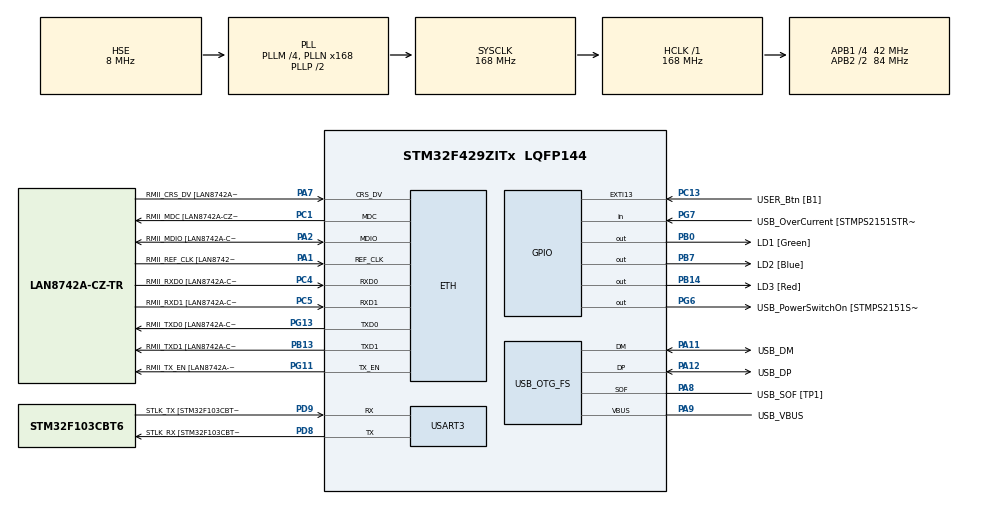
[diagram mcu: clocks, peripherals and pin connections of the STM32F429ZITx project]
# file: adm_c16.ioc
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ETH.MediaInterface=HAL_ETH_RMII_MODE
ETH.PHY_Name=LAN8742A_PHY_ADDRESS
ETH.PHY_Value=0
ETH.PhyAddress=0
Mcu.Family=STM32F4
Mcu.Name=STM32F429ZITx
Mcu.Package=LQFP144
NVIC.PriorityGroup=NVIC_PRIORITYGROUP_4
PA1.GPIO_Label=RMII_REF_CLK [LAN8742A-CZ-TR_REFCLK0]
PA1.Mode=RMII
PA1.Signal=ETH_REF_CLK
PA10.GPIO_Label=USB_ID
PA10.Signal=USB_OTG_FS_ID
PA11.GPIO_Label=USB_DM
PA11.Mode=Device_Only
PA11.Signal=USB_OTG_FS_DM
PA12.GPIO_Label=USB_DP
PA12.Mode=Device_Only
PA12.Signal=USB_OTG_FS_DP
PA13.GPIO_Label=TMS
PA13.Mode=Serial_Wire
PA13.Signal=SYS_JTMS-SWDIO
PA14.GPIO_Label=TCK
PA14.Mode=Serial_Wire
PA14.Signal=SYS_JTCK-SWCLK
PA2.GPIO_Label=RMII_MDIO [LAN8742A-CZ-TR_MDIO]
PA2.Mode=RMII
PA2.Signal=ETH_MDIO
PA7.GPIO_Label=RMII_CRS_DV [LAN8742A-CZ-TR_CRS_DV]
PA7.Mode=RMII
PA7.Signal=ETH_CRS_DV
PA8.GPIO_Label=USB_SOF [TP1]
PA8.Mode=Activate_SOF_FS
PA8.Signal=USB_OTG_FS_SOF
PA9.GPIO_Label=USB_VBUS
PA9.Mode=Activate_VBUS
PA9.Signal=USB_OTG_FS_VBUS
PB0.GPIO_Label=LD1 [Green]
PB0.Signal=GPIO_Output
PB13.GPIO_Label=RMII_TXD1 [LAN8742A-CZ-TR_TXD1]
PB13.Mode=RMII
PB13.Signal=ETH_TXD1
PB14.GPIO_Label=LD3 [Red]
PB14.Signal=GPIO_Output
PB7.GPIO_Label=LD2 [Blue]
PB7.Signal=GPIO_Output
PC1.GPIO_Label=RMII_MDC [LAN8742A-CZ-TR_MDC]
PC1.Mode=RMII
PC1.Signal=ETH_MDC
PC13.GPIO_Label=USER_Btn [B1]
PC13.Signal=GPXTI13
PC14/OSC32_IN.Mode=LSE-External-Oscillator
PC14/OSC32_IN.Signal=RCC_OSC32_IN
PC15/OSC32_OUT.Mode=LSE-External-Oscillator
PC15/OSC32_OUT.Signal=RCC_OSC32_OUT
PC4.GPIO_Label=RMII_RXD0 [LAN8742A-CZ-TR_RXD0]
PC4.Mode=RMII
PC4.Signal=ETH_RXD0
PC5.GPIO_Label=RMII_RXD1 [LAN8742A-CZ-TR_RXD1]
PC5.Mode=RMII
PC5.Signal=ETH_RXD1
PD8.GPIO_Label=STLK_RX [STM32F103CBT6_PA3]
PD8.Mode=Asynchronous
PD8.Signal=USART3_TX
PD9.GPIO_Label=STLK_TX [STM32F103CBT6_PA2]
PD9.Mode=Asynchronous
PD9.Signal=USART3_RX
PG11.GPIO_Label=RMII_TX_EN [LAN8742A-CZ-TR_TXEN]
PG11.Mode=RMII
PG11.Signal=ETH_TX_EN
PG13.GPIO_Label=RMII_TXD0 [LAN8742A-CZ-TR_TXD0]
PG13.Mode=RMII
PG13.Signal=ETH_TXD0
PG6.GPIO_Label=USB_PowerSwitchOn [STMPS2151STR_EN]
PG6.Signal=GPIO_Output
PG7.GPIO_Label=USB_OverCurrent [STMPS2151STR_FAULT]
PG7.Signal=GPIO_Input
PH0/OSC_IN.GPIO_Label=MCO [STM32F103CBT6_PA8]
PH0/OSC_IN.Mode=HSE-External-Clock-Source
PH0/OSC_IN.Signal=RCC_OSC_IN
PH1/OSC_OUT.Mode=HSE-External-Clock-Source
PH1/OSC_OUT.Signal=RCC_OSC_OUT
ProjectManager.HeapSize=0x200
ProjectManager.StackSize=0x400
ProjectManager.TargetToolchain=STM32CubeIDE
RCC.48MHZClocksFreq_Value=48000000
RCC.AHBFreq_Value=168000000
RCC.APB1CLKDivider=RCC_HCLK_DIV4
RCC.APB1Freq_Value=42000000
RCC.APB1TimFreq_Value=84000000
RCC.APB2CLKDivider=RCC_HCLK_DIV2
RCC.APB2Freq_Value=84000000
RCC.APB2TimCLKDivider=2
RCC.APB2TimFreq_Value=168000000
RCC.CortexFreq_Value=168000000
RCC.HCLKFreq_Value=168000000
RCC.HSE_VALUE=8000000
RCC.HSI_VALUE=16000000
RCC.PLLM=4
RCC.PLLMUL=RCC_PLL_MUL9
RCC.PLLN=168
RCC.PLLQ=7
RCC.PRESCALERUSB=RCC_USBCLKSOURCE_PLL_DIV1_5
RCC.SYSCLKFreq_VALUE=168000000
RCC.SYSCLKSource=RCC_SYSCLKSOURCE_PLLCLK
RCC.SYSCLKSourceVirtual=RCC_SYSCLKSOURCE_PLLCLK
RCC.USBFreq_Value=48000000
RCC.VCOOutputFreq_Value=336000000
USART3.VirtualMode=VM_ASYNC
USB_OTG_FS.VirtualMode=Device_Only
board=NUCLEO-F429ZI

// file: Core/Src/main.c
/* USER CODE BEGIN Header */
/**
  ******************************************************************************
  * @file           : main.c
  * @brief          : Main program body
  ******************************************************************************
  * @attention
  *
  * Copyright (c) 2022 STMicroelectronics.
  * All rights reserved.
  *
  * This software is licensed under terms that can be found in the LICENSE file
  * in the root directory of this software component.
  * If no LICENSE file comes with this software, it is provided AS-IS.
  *
  ******************************************************************************
  */
/* USER CODE END Header */
#include "main.h"
#include "string.h"
#include <limits.h>

/* USER CODE BEGIN Includes */
#include "asm_func.h"
/* USER CODE END Includes */

/* USER CODE BEGIN PM */
#define MAX_VECTOR 2
/* USER CODE END PM */

ETH_TxPacketConfig TxConfig;
ETH_DMADescTypeDef  DMARxDscrTab[ETH_RX_DESC_CNT]; /* Ethernet Rx DMA Descriptors */
ETH_DMADescTypeDef  DMATxDscrTab[ETH_TX_DESC_CNT]; /* Ethernet Tx DMA Descriptors */

 ETH_HandleTypeDef heth;

UART_HandleTypeDef huart3;

PCD_HandleTypeDef hpcd_USB_OTG_FS;

void SystemClock_Config(void);
static void MX_GPIO_Init(void);
static void MX_ETH_Init(void);
static void MX_USART3_UART_Init(void);
static void MX_USB_OTG_FS_PCD_Init(void);

/* USER CODE BEGIN 0 */

/* Ejercicio 1 */
void zeros(uint32_t * vector, uint32_t longitud)
{
	for(uint32_t i = 0; i < longitud; i++)
	{
		vector[i] = 0;
	}
}

/* Ejercicio 2 */
void productoEscalar32(uint32_t * vectorIn, uint32_t * vectorOut, uint32_t longitud, uint32_t escalar)
{
	for(uint32_t i = 0; i < longitud; i++)
	{
		vectorOut[i] = vectorIn[i] * escalar;
	}
}

/* Ejercicio 3 */
void productoEscalar16(uint16_t * vectorIn, uint16_t * vectorOut, uint32_t longitud, uint16_t escalar)
{
	for(uint32_t i = 0; i < longitud; i++)
	{
		vectorOut[i] = vectorIn[i] * escalar;
	}
}

/* Ejercicio 4 */
void productoEscalar12(uint16_t * vectorIn, uint16_t * vectorOut, uint32_t longitud, uint16_t escalar)
{
	for(uint32_t i = 0; i < longitud; i++)
	{
		vectorOut[i] = (vectorIn[i] * escalar);
		if(vectorOut[i] > 0x0FFF)
		{

			vectorOut[i] = 0x0FFF;
		}
	}
}

/* Ejercicio 5 */
void filtroVentana10(uint16_t * vectorIn, uint16_t * vectorOut, uint32_t longitudVectorIn)
{

	uint16_t promedio = 0;
	uint32_t n_filtro = 10;
	uint16_t sum = 0;
	uint32_t h = 0;

	//Loop para guardar los datos en vectorOut.
	for(uint32_t i = 0; i < longitudVectorIn; i++)
	{

		//Loop para iterar sobre vectorIn n_filtro veces.
		for(uint32_t j = 0; j < n_filtro; j++)
		{
			h = i + j;
			if(h >= longitudVectorIn)
			{
				sum += 0;
			}else{
				sum += vectorIn[h];
			}

		}

		promedio = sum / n_filtro;
		vectorOut[i] = promedio;
		sum = 0;
	}
}

/* Ejercicio 6 */
void pack32to16(int32_t * vectorIn, int16_t *vectorOut, uint32_t longitud)
{
	for(uint32_t i = 0; i < longitud; i++)
	{
		vectorOut[i] = (vectorIn[i] >> 16);
	}
}

/* Ejercicio 7 */
int32_t max (int32_t * vectorIn, uint32_t longitud)
{
	int32_t posicion_max = 0;
	int32_t max = INT_MIN;

	for(uint32_t i = 0; i < longitud; i++)
	{
		if(vectorIn[i] > max)
		{
			posicion_max = i;
			max = vectorIn[i];
		}

	}

	return posicion_max;
}

/* Ejercicio 8 */
void downsampleM(int32_t * vectorIn, int32_t * vectorOut, uint32_t longitud, uint32_t N)
{
	uint32_t contador = 0;
	uint32_t j = 0;

	for(uint32_t i = 0; i < longitud; i++)
	{
		if(contador != N)
		{
			vectorOut[j] = vectorIn[i];
			contador++;
			j++;
		}
		else
		{
			contador = 0;
		}
	}
}

/* Ejercicio 9 */
void invertir (uint16_t * vector, uint32_t longitud)
{
	uint16_t aux;
	uint32_t i = 0;
	uint32_t j = longitud - 1;

	while(i < longitud/2)
	{
		aux = vector[j];
		vector[j] = vector[i];
		vector[i] = aux;
		i++;
		j--;
	}
}

static void PrivilegiosSVC (void)
{
    // Obtiene valor del registro de 32 bits del procesador llamado "control".
    // El registro guarda los siguientes estados:
    // bit 2: Uso de FPU en el contexto actual. Usado=1, no usado=0.
    // bit 1: Mapeo del stack pointer(sp). MSP=0, PSP=1.
    // bit 0: Modo de ejecucion en Thread. Privilegiado=0, No privilegiado=1.
    //        Recordar que este valor solo se usa en modo Thread. Las
    //        interrupciones siempre se ejecutan en modo Handler con total
    //        privilegio.
    uint32_t x = __get_CONTROL ();

    // Actividad de debug: Ver registro "control" y valor de variable "x".
    //__BKPT (0);

    x |= 1;
    // bit 0 a modo No privilegiado.
    __set_CONTROL (x);

    // En este punto se estaria ejecutando en modo No privilegiado.
    // Lectura del registro "control" para confirmar.
    x = __get_CONTROL ();

    // Actividad de debug: Ver registro "control" y valor de variable "x".
    //__BKPT (0);

    x &= ~1u;
    // Se intenta volver a modo Privilegiado (bit 0, valor 0).
    __set_CONTROL (x);

    // Confirma que esta operacion es ignorada por estar ejecutandose en modo
    // Thread no privilegiado.
    x = __get_CONTROL ();

    // Actividad de debug: Ver registro "control" y valor de variable "x".
    //__BKPT (0);

    // En este punto, ejecutando en modo Thread no privilegiado, la unica forma
    // de volver a modo privilegiado o de realizar cualquier cambio que requiera
    // modo privilegiado, es pidiendo ese servicio a un hipotetico sistema
    // opertivo de tiempo real.
    // Para esto se invoca por software a la interrupcion SVC (Supervisor Call)
    // utilizando la instruccion "svc".
    // No hay intrinsics para realizar esta tarea. Para utilizar la instruccion
    // es necesario implementar una funcion en assembler. Ver el archivo
    // asm_func.S.
    asm_svc ();

    // El sistema operativo (el handler de SVC) deberia haber devuelto el modo
    // de ejecucion de Thread a privilegiado (bit 0 en valor 0).
    x = __get_CONTROL ();

    // Fin del ejemplo de SVC
}
/* USER CODE END 0 */

int main(void)
{

  /* MCU Configuration--------------------------------------------------------*/

  /* Reset of all peripherals, Initializes the Flash interface and the Systick. */
  HAL_Init();

  /* Configure the system clock */
  SystemClock_Config();

  /* Initialize all configured peripherals */

  MX_GPIO_Init();
  MX_ETH_Init();
  MX_USART3_UART_Init();
  MX_USB_OTG_FS_PCD_Init();

  /* USER CODE BEGIN 2 */

  PrivilegiosSVC ();

  //const uint32_t Resultado = asm_sum (5, 3);

  /* Guia de ejercicios */

  DWT->CTRL |= 1 << DWT_CTRL_CYCCNTENA_Pos;					//Inicio el contador de ciclos.
  volatile uint32_t c = 0;									//Variable para almacenar los ciclos.

  /* INICIO PRUEBA EJERCICIO 1 */
  {

  uint32_t vectorIn32[MAX_VECTOR];

  DWT->CYCCNT = 0;

  zeros(vectorIn32, MAX_VECTOR);

  c = DWT->CYCCNT;

  vectorIn32[0] = 1;
  vectorIn32[1] = 2;

  DWT->CYCCNT = 0;

  asm_zeros(vectorIn32, MAX_VECTOR);

  c = DWT->CYCCNT;

  }
  /* FIN PRUEBA EJERCICIO 1 */

  /* INICIO PRUEBA EJERCICIO 2 */
  {

  uint32_t vectorIn32[MAX_VECTOR] = {1, 2};
  uint32_t vectorOut32[MAX_VECTOR];
  uint32_t escalar = 2;

  DWT->CYCCNT = 0;

  productoEscalar32(vectorIn32, vectorOut32, MAX_VECTOR, escalar);

  c = DWT->CYCCNT;

  vectorOut32[0] = 0;
  vectorOut32[1] = 0;

  DWT->CYCCNT = 0;

  asm_productoEscalar32(vectorIn32, vectorOut32, MAX_VECTOR, escalar);

  c = DWT->CYCCNT;

  }
  /* FIN PRUEBA EJERCICIO 2 */

  /* INICIO PRUEBA EJERCICIO 3 */
  {

  uint16_t vectorIn16[MAX_VECTOR] = {1, 2};
  uint16_t vectorOut16[MAX_VECTOR];
  uint16_t escalar = 2;

  DWT->CYCCNT = 0;

  productoEscalar16(vectorIn16, vectorOut16, MAX_VECTOR, escalar);

  c = DWT->CYCCNT;

  vectorOut16[0] = 0;
  vectorOut16[1] = 0;

  DWT->CYCCNT = 0;

  asm_productoEscalar16(vectorIn16, vectorOut16, MAX_VECTOR, escalar);

  c = DWT->CYCCNT;

  }
  /* FIN PRUEBA EJERCICIO 3 */

  /* INICIO PRUEBA EJERCICIO 4 */
  {

  uint16_t vectorIn16[MAX_VECTOR] = {1, 2};
  uint16_t vectorOut16[MAX_VECTOR];
  uint16_t escalar = 4000;

  DWT->CYCCNT = 0;

  productoEscalar12(vectorIn16, vectorOut16, MAX_VECTOR, escalar);

  c = DWT->CYCCNT;

  vectorOut16[0] = 0;
  vectorOut16[1] = 0;

  DWT->CYCCNT = 0;

  asm_productoEscalar12(vectorIn16, vectorOut16, MAX_VECTOR, escalar);

  c = DWT->CYCCNT;

  }
  /* FIN PRUEBA EJERCICIO 4 */

  /* INICIO PRUEBA EJERCICIO 5 */
  {

  uint16_t vectorIn16[10] = {0, 1, 2, 3, 4, 5, 6, 7, 8, 9};
  uint16_t vectorOut16[10];

  DWT->CYCCNT = 0;

  filtroVentana10(vectorIn16, vectorOut16, 10);

  c = DWT->CYCCNT;

  uint16_t asm_vectorOut16[10];

  DWT->CYCCNT = 0;

  asm_filtroVentana10(vectorIn16, asm_vectorOut16, 10);

  c = DWT->CYCCNT;

  }
  /* FIN PRUEBA EJERCICIO 5 */

  /* INICIO PRUEBA EJERCICIO 6 */
  {

  int32_t vectorIn32[6] = {-2147483648, -5000000, 0, 2000, 1000000, 2147483647};
  int16_t vectorOut16[6];

  DWT->CYCCNT = 0;

  pack32to16(vectorIn32, vectorOut16, 6);

  c = DWT->CYCCNT;

  int16_t asm_vectorOut16[6];

  DWT->CYCCNT = 0;

  asm_pack32to16(vectorIn32, asm_vectorOut16, 6);

  c = DWT->CYCCNT;

  }
  /* FIN PRUEBA EJERCICIO 6 */

  /* INICIO PRUEBA EJERCICIO 7 */
  {

  int32_t vectorIn32[5] = {-10000, -50, 50, -25, -3};
  DWT->CYCCNT = 0;

  int32_t pos_max = max(vectorIn32, 5);

  c = DWT->CYCCNT;

  DWT->CYCCNT = 0;

  int32_t asm_pos_max = asm_max(vectorIn32, 5);

  c = DWT->CYCCNT;

  }
  /* FIN PRUEBA EJERCICIO 7 */

  /* INICIO PRUEBA EJERCICIO 8 */
  {

  int32_t vectorIn32[10] = {0, 1, 2, 3, 4, 5, 6, 7, 8, 9};
  int32_t vectorOut32[10] = {0};
  DWT->CYCCNT = 0;

  downsampleM(vectorIn32, vectorOut32, 10, 3);

  c = DWT->CYCCNT;

  int32_t asm_vectorIn32[10] = {0, 1, 2, 3, 4, 5, 6, 7, 8, 9};
  int32_t asm_vectorOut32[10] = {0};

  DWT->CYCCNT = 0;

  asm_downsampleM(asm_vectorIn32, asm_vectorOut32, 10, 3);

  c = DWT->CYCCNT;

  }
  /* FIN PRUEBA EJERCICIO 8 */

  /* INICIO PRUEBA EJERCICIO 9 */
  {

  uint16_t vector[10] = {0, 1, 2, 3, 4, 5, 6, 7, 8, 9};

  DWT->CYCCNT = 0;

  invertir(vector, 10);

  c = DWT->CYCCNT;

  uint16_t asm_vector[10] = {0, 1, 2, 3, 4, 5, 6, 7, 8, 9};

  DWT->CYCCNT = 0;

  asm_invertir(asm_vector, 10);

  c = DWT->CYCCNT;

  }
  /* FIN PRUEBA EJERCICIO 9 */

  /* USER CODE END 2 */

  /* Infinite loop */
  while (1)
  {

  }
}

void SystemClock_Config(void)
{
  RCC_OscInitTypeDef RCC_OscInitStruct = {0};
  RCC_ClkInitTypeDef RCC_ClkInitStruct = {0};

  /** Configure the main internal regulator output voltage
  */
  __HAL_RCC_PWR_CLK_ENABLE();
  __HAL_PWR_VOLTAGESCALING_CONFIG(PWR_REGULATOR_VOLTAGE_SCALE1);

  /** Initializes the RCC Oscillators according to the specified parameters
  * in the RCC_OscInitTypeDef structure.
  */
  RCC_OscInitStruct.OscillatorType = RCC_OSCILLATORTYPE_HSE;
  RCC_OscInitStruct.HSEState = RCC_HSE_BYPASS;
  RCC_OscInitStruct.PLL.PLLState = RCC_PLL_ON;
  RCC_OscInitStruct.PLL.PLLSource = RCC_PLLSOURCE_HSE;
  RCC_OscInitStruct.PLL.PLLM = 4;
  RCC_OscInitStruct.PLL.PLLN = 168;
  RCC_OscInitStruct.PLL.PLLP = RCC_PLLP_DIV2;
  RCC_OscInitStruct.PLL.PLLQ = 7;
  if (HAL_RCC_OscConfig(&RCC_OscInitStruct) != HAL_OK)
  {
    Error_Handler();
  }

  /** Initializes the CPU, AHB and APB buses clocks
  */
  RCC_ClkInitStruct.ClockType = RCC_CLOCKTYPE_HCLK|RCC_CLOCKTYPE_SYSCLK
                              |RCC_CLOCKTYPE_PCLK1|RCC_CLOCKTYPE_PCLK2;
  RCC_ClkInitStruct.SYSCLKSource = RCC_SYSCLKSOURCE_PLLCLK;
  RCC_ClkInitStruct.AHBCLKDivider = RCC_SYSCLK_DIV1;
  RCC_ClkInitStruct.APB1CLKDivider = RCC_HCLK_DIV4;
  RCC_ClkInitStruct.APB2CLKDivider = RCC_HCLK_DIV2;

  if (HAL_RCC_ClockConfig(&RCC_ClkInitStruct, FLASH_LATENCY_5) != HAL_OK)
  {
    Error_Handler();
  }
}

static void MX_ETH_Init(void)
{

   static uint8_t MACAddr[6];

  heth.Instance = ETH;
  MACAddr[0] = 0x00;
  MACAddr[1] = 0x80;
  MACAddr[2] = 0xE1;
  MACAddr[3] = 0x00;
  MACAddr[4] = 0x00;
  MACAddr[5] = 0x00;
  heth.Init.MACAddr = &MACAddr[0];
  heth.Init.MediaInterface = HAL_ETH_RMII_MODE;
  heth.Init.TxDesc = DMATxDscrTab;
  heth.Init.RxDesc = DMARxDscrTab;
  heth.Init.RxBuffLen = 1524;

  if (HAL_ETH_Init(&heth) != HAL_OK)
  {
    Error_Handler();
  }

  memset(&TxConfig, 0 , sizeof(ETH_TxPacketConfig));
  TxConfig.Attributes = ETH_TX_PACKETS_FEATURES_CSUM | ETH_TX_PACKETS_FEATURES_CRCPAD;
  TxConfig.ChecksumCtrl = ETH_CHECKSUM_IPHDR_PAYLOAD_INSERT_PHDR_CALC;
  TxConfig.CRCPadCtrl = ETH_CRC_PAD_INSERT;

}

static void MX_USART3_UART_Init(void)
{

  huart3.Instance = USART3;
  huart3.Init.BaudRate = 115200;
  huart3.Init.WordLength = UART_WORDLENGTH_8B;
  huart3.Init.StopBits = UART_STOPBITS_1;
  huart3.Init.Parity = UART_PARITY_NONE;
  huart3.Init.Mode = UART_MODE_TX_RX;
  huart3.Init.HwFlowCtl = UART_HWCONTROL_NONE;
  huart3.Init.OverSampling = UART_OVERSAMPLING_16;
  if (HAL_UART_Init(&huart3) != HAL_OK)
  {
    Error_Handler();
  }

}

static void MX_USB_OTG_FS_PCD_Init(void)
{

  hpcd_USB_OTG_FS.Instance = USB_OTG_FS;
  hpcd_USB_OTG_FS.Init.dev_endpoints = 4;
  hpcd_USB_OTG_FS.Init.speed = PCD_SPEED_FULL;
  hpcd_USB_OTG_FS.Init.dma_enable = DISABLE;
  hpcd_USB_OTG_FS.Init.phy_itface = PCD_PHY_EMBEDDED;
  hpcd_USB_OTG_FS.Init.Sof_enable = ENABLE;
  hpcd_USB_OTG_FS.Init.low_power_enable = DISABLE;
  hpcd_USB_OTG_FS.Init.lpm_enable = DISABLE;
  hpcd_USB_OTG_FS.Init.vbus_sensing_enable = ENABLE;
  hpcd_USB_OTG_FS.Init.use_dedicated_ep1 = DISABLE;
  if (HAL_PCD_Init(&hpcd_USB_OTG_FS) != HAL_OK)
  {
    Error_Handler();
  }

}

static void MX_GPIO_Init(void)
{
  GPIO_InitTypeDef GPIO_InitStruct = {0};

  /* GPIO Ports Clock Enable */
  __HAL_RCC_GPIOC_CLK_ENABLE();
  __HAL_RCC_GPIOH_CLK_ENABLE();
  __HAL_RCC_GPIOA_CLK_ENABLE();
  __HAL_RCC_GPIOB_CLK_ENABLE();
  __HAL_RCC_GPIOD_CLK_ENABLE();
  __HAL_RCC_GPIOG_CLK_ENABLE();

  /*Configure GPIO pin Output Level */
  HAL_GPIO_WritePin(GPIOB, LD1_Pin|LD3_Pin|LD2_Pin, GPIO_PIN_RESET);

  /*Configure GPIO pin Output Level */
  HAL_GPIO_WritePin(USB_PowerSwitchOn_GPIO_Port, USB_PowerSwitchOn_Pin, GPIO_PIN_RESET);

  /*Configure GPIO pin : USER_Btn_Pin */
  GPIO_InitStruct.Pin = USER_Btn_Pin;
  GPIO_InitStruct.Mode = GPIO_MODE_IT_RISING;
  GPIO_InitStruct.Pull = GPIO_NOPULL;
  HAL_GPIO_Init(USER_Btn_GPIO_Port, &GPIO_InitStruct);

  /*Configure GPIO pins : LD1_Pin LD3_Pin LD2_Pin */
  GPIO_InitStruct.Pin = LD1_Pin|LD3_Pin|LD2_Pin;
  GPIO_InitStruct.Mode = GPIO_MODE_OUTPUT_PP;
  GPIO_InitStruct.Pull = GPIO_NOPULL;
  GPIO_InitStruct.Speed = GPIO_SPEED_FREQ_LOW;
  HAL_GPIO_Init(GPIOB, &GPIO_InitStruct);

  /*Configure GPIO pin : USB_PowerSwitchOn_Pin */
  GPIO_InitStruct.Pin = USB_PowerSwitchOn_Pin;
  GPIO_InitStruct.Mode = GPIO_MODE_OUTPUT_PP;
  GPIO_InitStruct.Pull = GPIO_NOPULL;
  GPIO_InitStruct.Speed = GPIO_SPEED_FREQ_LOW;
  HAL_GPIO_Init(USB_PowerSwitchOn_GPIO_Port, &GPIO_InitStruct);

  /*Configure GPIO pin : USB_OverCurrent_Pin */
  GPIO_InitStruct.Pin = USB_OverCurrent_Pin;
  GPIO_InitStruct.Mode = GPIO_MODE_INPUT;
  GPIO_InitStruct.Pull = GPIO_NOPULL;
  HAL_GPIO_Init(USB_OverCurrent_GPIO_Port, &GPIO_InitStruct);

}

void Error_Handler(void)
{
  __disable_irq();
  while (1)
  {
  }
}
